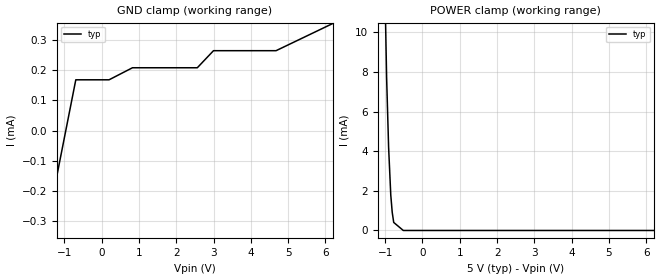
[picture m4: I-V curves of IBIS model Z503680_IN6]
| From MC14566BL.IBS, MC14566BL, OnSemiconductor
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| (C) COPYRIGHT 1993-2000
| MENTOR GRAPHICS CORPORATION
| ICX STANDARD LIBRARY, ICX PROJECT MODELING,
| ICX CUSTOM MODELING, ICX VENDOR MODEL
| ALL RIGHTS RESERVED.
| THE FOLLOWING ARE TRADEMARKS OR SERVICE MARKS OF
| MENTOR GRAPHICS CORPORATION:ICX (R), ICX STANDARD
| LIBRARY(R), ICX PROJECT MODELING(R), ICX CUSTOM
| MODELING(R), qualityIBIS(TM), MODELVIEWER(TM),
| AND MODELEDITOR(TM)
| ALL COPIES OF SOFTWARE, INCLUDING BUT NOT LIMITED TO
| ANY MODIFICATIONS, ENHANCEMENTS OR DERIVATIVE WORKS,
| MUST CONTAIN ALL MENTOR GRAPHICS CORPORATION'S
| NOTICES AND LEGENDS, INCLUDING THOSE EMBEDDED IN
| SOFTWARE AND THOSE AFFIXED TO SOFTWARE MEDIUM
| AND CONTAINER, AS RECEIVED FROM MENTOR GRAPHICS
| CORPORATION.
| Model Application Version 1.89 2/18/99.
[Model] Z503680_IN6
Model_type Input
Vinl = 1.500V
Vinh = 3.500V
C_comp 4.000pF NA NA
| variable typ   min   max
[Voltage Range] 5.000V NA NA
[GND Clamp Reference] 0.000V NA NA
[POWER Clamp Reference] 5.000V NA NA
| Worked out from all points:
|   POWER clamp passes 1 mA (typ) near -0.81 V on its own axis
[GND Clamp]
-5V       -2.529mA   NA         NA
-693.5mV  167.9uA    NA         NA
198mV     167.9uA    NA         NA
825.7mV   207.8uA    NA         NA
2.564V    207.8uA    NA         NA
2.998V    264.3uA    NA         NA
4.675V    264.3uA    NA         NA
10V       579.6uA    NA         NA
[POWER Clamp]
-5V       708.5mA    NA         NA
-1.211V   39.43mA    NA         NA
-1.055V   17.09mA    NA         NA
-962mV    7.761mA    NA         NA
-908mV    4.198mA    NA         NA
-850mV    1.79mA     NA         NA
-811mV    914.4uA    NA         NA
-771mV    405.4uA    NA         NA
-514mV    0A         NA         NA
10V       0A         NA         NA
